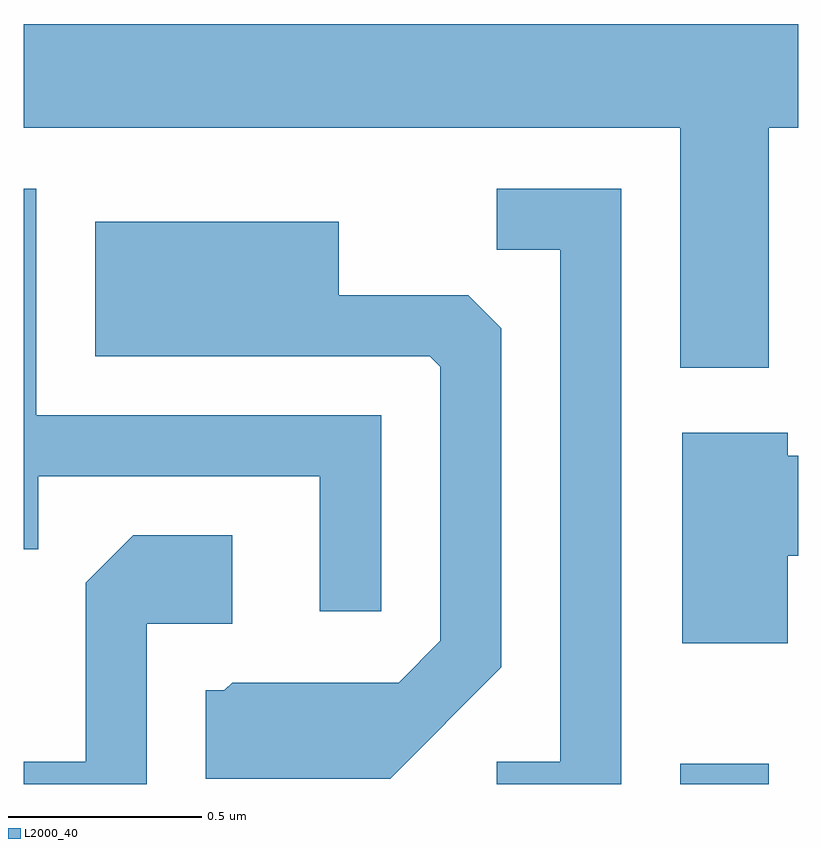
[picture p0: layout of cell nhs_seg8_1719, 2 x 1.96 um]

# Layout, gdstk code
import gdstk
lib = gdstk.Library(unit=1e-6, precision=1e-09)
def R(c, l, rs):  # rectangles x0, y0, x1, y1
    for r in rs: c.add(gdstk.rectangle(r[:2], r[2:], *l))
def P(c, l, *ps):  # polygons
    for p in ps: c.add(gdstk.Polygon(p, *l))
L2000_40 = (2000, 40)

nhs_seg8_1719 = lib.new_cell('nhs_seg8_1719')
R(nhs_seg8_1719, L2000_40, [(199.306,1881.342,199.534,1881.394)])
P(nhs_seg8_1719, L2000_40, [(199.534,1883.036),(199.611,1883.036),(199.611,1883.304),(197.611,1883.304),(197.611,1883.036),(199.306,1883.036),(199.306,1882.416),(199.534,1882.416)],
  [(199.154,1882.879),(198.833,1882.879),(198.833,1882.721),(198.996,1882.721),(198.996,1881.399),(198.833,1881.399),(198.833,1881.342),(199.154,1881.342)],
  [(198.534,1882.294),(197.644,1882.294),(197.644,1882.879),(197.611,1882.879),(197.611,1881.948),(197.649,1881.948),(197.649,1882.136),(198.376,1882.136),(198.376,1881.788),(198.534,1881.788)],
  [(198.844,1881.644),(198.844,1882.519),(198.759,1882.604),(198.424,1882.604),(198.424,1882.794),(197.796,1882.794),(197.796,1882.446),(198.659,1882.446),(198.686,1882.419),(198.686,1881.712),(198.579,1881.604),(198.149,1881.604),(198.129,1881.584),(198.081,1881.584),(198.081,1881.356),(198.557,1881.356)],
  [(199.584,1881.931),(199.611,1881.931),(199.611,1882.189),(199.584,1882.189),(199.584,1882.249),(199.311,1882.249),(199.311,1881.706),(199.584,1881.706)],
  [(197.929,1881.756),(198.149,1881.756),(198.149,1881.984),(197.894,1881.984),(197.771,1881.862),(197.771,1881.399),(197.611,1881.399),(197.611,1881.342),(197.929,1881.342)])

lib.write_gds('nhs_seg8_1719.gds')
